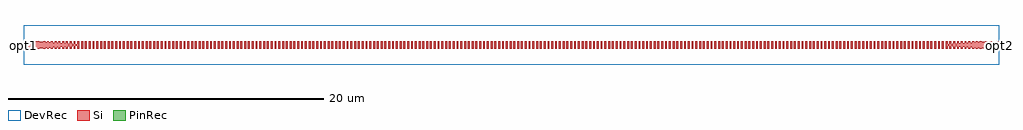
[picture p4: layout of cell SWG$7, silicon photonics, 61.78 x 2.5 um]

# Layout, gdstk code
import gdstk
lib = gdstk.Library(unit=1e-6, precision=1e-09)
def R(c, l, rs):  # rectangles x0, y0, x1, y1
    for r in rs: c.add(gdstk.rectangle(r[:2], r[2:], *l))
def P(c, l, *ps):  # polygons
    for p in ps: c.add(gdstk.Polygon(p, *l))
Si = (1, 0)
PinRec = (1, 10)
DevRec = (68, 0)

n2_grating_200_1 = lib.new_cell('n2$grating$200$1')
R(n2_grating_200_1, Si, [(50.4,-0.25,50.52,0.25)])

n2_grating_184_1 = lib.new_cell('n2$grating$184$1')
R(n2_grating_184_1, Si, [(46.56,-0.25,46.68,0.25)])

n2_grating_216_1 = lib.new_cell('n2$grating$216$1')
R(n2_grating_216_1, Si, [(54.24,-0.25,54.36,0.25)])

n2_grating_199_1 = lib.new_cell('n2$grating$199$1')
R(n2_grating_199_1, Si, [(50.16,-0.25,50.28,0.25)])

n2_grating_183_1 = lib.new_cell('n2$grating$183$1')
R(n2_grating_183_1, Si, [(46.32,-0.25,46.44,0.25)])

n2_grating_215_1 = lib.new_cell('n2$grating$215$1')
R(n2_grating_215_1, Si, [(54,-0.25,54.12,0.25)])

n1_grating_22_3 = lib.new_cell('n1$grating$22$3')
R(n1_grating_22_3, Si, [(57.6,-0.25,57.72,0.25)])

n2_grating_196_1 = lib.new_cell('n2$grating$196$1')
R(n2_grating_196_1, Si, [(49.44,-0.25,49.56,0.25)])

n2_grating_180_1 = lib.new_cell('n2$grating$180$1')
R(n2_grating_180_1, Si, [(45.6,-0.25,45.72,0.25)])

n2_grating_212_1 = lib.new_cell('n2$grating$212$1')
R(n2_grating_212_1, Si, [(53.28,-0.25,53.4,0.25)])

n1_grating_82_3 = lib.new_cell('n1$grating$82$3')
R(n1_grating_82_3, Si, [(59.04,-0.25,59.16,0.25)])

n2_grating_190_1 = lib.new_cell('n2$grating$190$1')
R(n2_grating_190_1, Si, [(48,-0.25,48.12,0.25)])

n2_grating_221_1 = lib.new_cell('n2$grating$221$1')
R(n2_grating_221_1, Si, [(55.44,-0.25,55.56,0.25)])

n2_grating_206_1 = lib.new_cell('n2$grating$206$1')
R(n2_grating_206_1, Si, [(51.84,-0.25,51.96,0.25)])

n1_grating_52_3 = lib.new_cell('n1$grating$52$3')
R(n1_grating_52_3, Si, [(58.32,-0.25,58.44,0.25)])

n2_grating_185_1 = lib.new_cell('n2$grating$185$1')
R(n2_grating_185_1, Si, [(46.8,-0.25,46.92,0.25)])

n2_grating_218_1 = lib.new_cell('n2$grating$218$1')
R(n2_grating_218_1, Si, [(54.72,-0.25,54.84,0.25)])

n2_grating_201_1 = lib.new_cell('n2$grating$201$1')
R(n2_grating_201_1, Si, [(50.64,-0.25,50.76,0.25)])

n1_grating_12_3 = lib.new_cell('n1$grating$12$3')
R(n1_grating_12_3, Si, [(57.36,-0.25,57.48,0.25)])

n2_grating_213_1 = lib.new_cell('n2$grating$213$1')
R(n2_grating_213_1, Si, [(53.52,-0.25,53.64,0.25)])

n2_grating_181_1 = lib.new_cell('n2$grating$181$1')
R(n2_grating_181_1, Si, [(45.84,-0.25,45.96,0.25)])

n2_grating_197_1 = lib.new_cell('n2$grating$197$1')
R(n2_grating_197_1, Si, [(49.68,-0.25,49.8,0.25)])

n1_grating_62_3 = lib.new_cell('n1$grating$62$3')
R(n1_grating_62_3, Si, [(58.56,-0.25,58.68,0.25)])

n2_grating_219_1 = lib.new_cell('n2$grating$219$1')
R(n2_grating_219_1, Si, [(54.96,-0.25,55.08,0.25)])

n2_grating_182_1 = lib.new_cell('n2$grating$182$1')
R(n2_grating_182_1, Si, [(46.08,-0.25,46.2,0.25)])

taper2_3 = lib.new_cell('taper2$3')
P(taper2_3, Si, [(59.88,-0.25),(57.36,-0.05),(57.36,0.05),(59.88,0.25)])

n2_grating_198_1 = lib.new_cell('n2$grating$198$1')
R(n2_grating_198_1, Si, [(49.92,-0.25,50.04,0.25)])

n2_grating_214_1 = lib.new_cell('n2$grating$214$1')
R(n2_grating_214_1, Si, [(53.76,-0.25,53.88,0.25)])

n1_grating_92_3 = lib.new_cell('n1$grating$92$3')
R(n1_grating_92_3, Si, [(59.28,-0.25,59.4,0.25)])

n2_grating_205_1 = lib.new_cell('n2$grating$205$1')
R(n2_grating_205_1, Si, [(51.6,-0.25,51.72,0.25)])

n2_grating_222_1 = lib.new_cell('n2$grating$222$1')
R(n2_grating_222_1, Si, [(55.68,-0.25,55.8,0.25)])

n2_grating_189_1 = lib.new_cell('n2$grating$189$1')
R(n2_grating_189_1, Si, [(47.76,-0.25,47.88,0.25)])

n2_grating_228_1 = lib.new_cell('n2$grating$228$1')
R(n2_grating_228_1, Si, [(57.12,-0.25,57.24,0.25)])

n2_grating_207_1 = lib.new_cell('n2$grating$207$1')
R(n2_grating_207_1, Si, [(52.08,-0.25,52.2,0.25)])

n2_grating_191_1 = lib.new_cell('n2$grating$191$1')
R(n2_grating_191_1, Si, [(48.24,-0.25,48.36,0.25)])

n1_grating_42_3 = lib.new_cell('n1$grating$42$3')
R(n1_grating_42_3, Si, [(58.08,-0.25,58.2,0.25)])

n2_grating_217_1 = lib.new_cell('n2$grating$217$1')
R(n2_grating_217_1, Si, [(54.48,-0.25,54.6,0.25)])

n2_grating_202_1 = lib.new_cell('n2$grating$202$1')
R(n2_grating_202_1, Si, [(50.88,-0.25,51,0.25)])

n2_grating_186_1 = lib.new_cell('n2$grating$186$1')
R(n2_grating_186_1, Si, [(47.04,-0.25,47.16,0.25)])

n2_grating_187_1 = lib.new_cell('n2$grating$187$1')
R(n2_grating_187_1, Si, [(47.28,-0.25,47.4,0.25)])

n2_grating_203_1 = lib.new_cell('n2$grating$203$1')
R(n2_grating_203_1, Si, [(51.12,-0.25,51.24,0.25)])

n2_grating_224_1 = lib.new_cell('n2$grating$224$1')
R(n2_grating_224_1, Si, [(56.16,-0.25,56.28,0.25)])

output_3 = lib.new_cell('Output$3')
R(output_3, Si, [(59.88,-0.25,60.76,0.25)])

n2_grating_227_1 = lib.new_cell('n2$grating$227$1')
R(n2_grating_227_1, Si, [(56.88,-0.25,57,0.25)])

n2_grating_192_1 = lib.new_cell('n2$grating$192$1')
R(n2_grating_192_1, Si, [(48.48,-0.25,48.6,0.25)])

n2_grating_208_1 = lib.new_cell('n2$grating$208$1')
R(n2_grating_208_1, Si, [(52.32,-0.25,52.44,0.25)])

n2_grating_194_1 = lib.new_cell('n2$grating$194$1')
R(n2_grating_194_1, Si, [(48.96,-0.25,49.08,0.25)])

n2_grating_210_1 = lib.new_cell('n2$grating$210$1')
R(n2_grating_210_1, Si, [(52.8,-0.25,52.92,0.25)])

n2_grating_225_1 = lib.new_cell('n2$grating$225$1')
R(n2_grating_225_1, Si, [(56.4,-0.25,56.52,0.25)])

n2_grating_188_1 = lib.new_cell('n2$grating$188$1')
R(n2_grating_188_1, Si, [(47.52,-0.25,47.64,0.25)])

n2_grating_223_1 = lib.new_cell('n2$grating$223$1')
R(n2_grating_223_1, Si, [(55.92,-0.25,56.04,0.25)])

n1_grating_102_3 = lib.new_cell('n1$grating$102$3')
R(n1_grating_102_3, Si, [(59.52,-0.25,59.64,0.25)])

n2_grating_204_1 = lib.new_cell('n2$grating$204$1')
R(n2_grating_204_1, Si, [(51.36,-0.25,51.48,0.25)])

n1_grating_72_3 = lib.new_cell('n1$grating$72$3')
R(n1_grating_72_3, Si, [(58.8,-0.25,58.92,0.25)])

n2_grating_220_1 = lib.new_cell('n2$grating$220$1')
R(n2_grating_220_1, Si, [(55.2,-0.25,55.32,0.25)])

n2_grating_211_1 = lib.new_cell('n2$grating$211$1')
R(n2_grating_211_1, Si, [(53.04,-0.25,53.16,0.25)])

n1_grating_32_3 = lib.new_cell('n1$grating$32$3')
R(n1_grating_32_3, Si, [(57.84,-0.25,57.96,0.25)])

n2_grating_195_1 = lib.new_cell('n2$grating$195$1')
R(n2_grating_195_1, Si, [(49.2,-0.25,49.32,0.25)])

n2_grating_179_1 = lib.new_cell('n2$grating$179$1')
R(n2_grating_179_1, Si, [(45.36,-0.25,45.48,0.25)])

n2_grating_193_1 = lib.new_cell('n2$grating$193$1')
R(n2_grating_193_1, Si, [(48.72,-0.25,48.84,0.25)])

n2_grating_209_1 = lib.new_cell('n2$grating$209$1')
R(n2_grating_209_1, Si, [(52.56,-0.25,52.68,0.25)])

n2_grating_226_1 = lib.new_cell('n2$grating$226$1')
R(n2_grating_226_1, Si, [(56.64,-0.25,56.76,0.25)])

n2_grating_150_1 = lib.new_cell('n2$grating$150$1')
R(n2_grating_150_1, Si, [(38.4,-0.25,38.52,0.25)])

n2_grating_164_1 = lib.new_cell('n2$grating$164$1')
R(n2_grating_164_1, Si, [(41.76,-0.25,41.88,0.25)])

n2_grating_148_1 = lib.new_cell('n2$grating$148$1')
R(n2_grating_148_1, Si, [(37.92,-0.25,38.04,0.25)])

n2_grating_116_2 = lib.new_cell('n2$grating$116$2')
R(n2_grating_116_2, Si, [(30.24,-0.25,30.36,0.25)])

n2_grating_132_1 = lib.new_cell('n2$grating$132$1')
R(n2_grating_132_1, Si, [(34.08,-0.25,34.2,0.25)])

n2_grating_166_1 = lib.new_cell('n2$grating$166$1')
R(n2_grating_166_1, Si, [(42.24,-0.25,42.36,0.25)])

n2_grating_118_2 = lib.new_cell('n2$grating$118$2')
R(n2_grating_118_2, Si, [(30.72,-0.25,30.84,0.25)])

n2_grating_134_1 = lib.new_cell('n2$grating$134$1')
R(n2_grating_134_1, Si, [(34.56,-0.25,34.68,0.25)])

n2_grating_122_1 = lib.new_cell('n2$grating$122$1')
R(n2_grating_122_1, Si, [(31.68,-0.25,31.8,0.25)])

n2_grating_121_1 = lib.new_cell('n2$grating$121$1')
R(n2_grating_121_1, Si, [(31.44,-0.25,31.56,0.25)])

n2_grating_137_1 = lib.new_cell('n2$grating$137$1')
R(n2_grating_137_1, Si, [(35.28,-0.25,35.4,0.25)])

n2_grating_153_1 = lib.new_cell('n2$grating$153$1')
R(n2_grating_153_1, Si, [(39.12,-0.25,39.24,0.25)])

n2_grating_169_1 = lib.new_cell('n2$grating$169$1')
R(n2_grating_169_1, Si, [(42.96,-0.25,43.08,0.25)])

n2_grating_123_1 = lib.new_cell('n2$grating$123$1')
R(n2_grating_123_1, Si, [(31.92,-0.25,32.04,0.25)])

n2_grating_128_1 = lib.new_cell('n2$grating$128$1')
R(n2_grating_128_1, Si, [(33.12,-0.25,33.24,0.25)])

n2_grating_119_1 = lib.new_cell('n2$grating$119$1')
R(n2_grating_119_1, Si, [(30.96,-0.25,31.08,0.25)])

n2_grating_139_1 = lib.new_cell('n2$grating$139$1')
R(n2_grating_139_1, Si, [(35.76,-0.25,35.88,0.25)])

n2_grating_155_1 = lib.new_cell('n2$grating$155$1')
R(n2_grating_155_1, Si, [(39.6,-0.25,39.72,0.25)])

n2_grating_176_1 = lib.new_cell('n2$grating$176$1')
R(n2_grating_176_1, Si, [(44.64,-0.25,44.76,0.25)])

n2_grating_144_1 = lib.new_cell('n2$grating$144$1')
R(n2_grating_144_1, Si, [(36.96,-0.25,37.08,0.25)])

n2_grating_160_1 = lib.new_cell('n2$grating$160$1')
R(n2_grating_160_1, Si, [(40.8,-0.25,40.92,0.25)])

n2_grating_171_1 = lib.new_cell('n2$grating$171$1')
R(n2_grating_171_1, Si, [(43.44,-0.25,43.56,0.25)])

n2_grating_151_1 = lib.new_cell('n2$grating$151$1')
R(n2_grating_151_1, Si, [(38.64,-0.25,38.76,0.25)])

n2_grating_135_1 = lib.new_cell('n2$grating$135$1')
R(n2_grating_135_1, Si, [(34.8,-0.25,34.92,0.25)])

n2_grating_163_1 = lib.new_cell('n2$grating$163$1')
R(n2_grating_163_1, Si, [(41.52,-0.25,41.64,0.25)])

n2_grating_147_1 = lib.new_cell('n2$grating$147$1')
R(n2_grating_147_1, Si, [(37.68,-0.25,37.8,0.25)])

n2_grating_115_2 = lib.new_cell('n2$grating$115$2')
R(n2_grating_115_2, Si, [(30,-0.25,30.12,0.25)])

n2_grating_131_1 = lib.new_cell('n2$grating$131$1')
R(n2_grating_131_1, Si, [(33.84,-0.25,33.96,0.25)])

n2_grating_167_1 = lib.new_cell('n2$grating$167$1')
R(n2_grating_167_1, Si, [(42.48,-0.25,42.6,0.25)])

n2_grating_170_1 = lib.new_cell('n2$grating$170$1')
R(n2_grating_170_1, Si, [(43.2,-0.25,43.32,0.25)])

n2_grating_165_1 = lib.new_cell('n2$grating$165$1')
R(n2_grating_165_1, Si, [(42,-0.25,42.12,0.25)])

n2_grating_161_1 = lib.new_cell('n2$grating$161$1')
R(n2_grating_161_1, Si, [(41.04,-0.25,41.16,0.25)])

n2_grating_177_1 = lib.new_cell('n2$grating$177$1')
R(n2_grating_177_1, Si, [(44.88,-0.25,45,0.25)])

n2_grating_129_1 = lib.new_cell('n2$grating$129$1')
R(n2_grating_129_1, Si, [(33.36,-0.25,33.48,0.25)])

n2_grating_145_1 = lib.new_cell('n2$grating$145$1')
R(n2_grating_145_1, Si, [(37.2,-0.25,37.32,0.25)])

n2_grating_149_1 = lib.new_cell('n2$grating$149$1')
R(n2_grating_149_1, Si, [(38.16,-0.25,38.28,0.25)])

n2_grating_117_2 = lib.new_cell('n2$grating$117$2')
R(n2_grating_117_2, Si, [(30.48,-0.25,30.6,0.25)])

n2_grating_133_1 = lib.new_cell('n2$grating$133$1')
R(n2_grating_133_1, Si, [(34.32,-0.25,34.44,0.25)])

n2_grating_138_1 = lib.new_cell('n2$grating$138$1')
R(n2_grating_138_1, Si, [(35.52,-0.25,35.64,0.25)])

n2_grating_127_1 = lib.new_cell('n2$grating$127$1')
R(n2_grating_127_1, Si, [(32.88,-0.25,33,0.25)])

n2_grating_175_1 = lib.new_cell('n2$grating$175$1')
R(n2_grating_175_1, Si, [(44.4,-0.25,44.52,0.25)])

n2_grating_159_1 = lib.new_cell('n2$grating$159$1')
R(n2_grating_159_1, Si, [(40.56,-0.25,40.68,0.25)])

n2_grating_143_1 = lib.new_cell('n2$grating$143$1')
R(n2_grating_143_1, Si, [(36.72,-0.25,36.84,0.25)])

n2_grating_154_1 = lib.new_cell('n2$grating$154$1')
R(n2_grating_154_1, Si, [(39.36,-0.25,39.48,0.25)])

n2_grating_125_1 = lib.new_cell('n2$grating$125$1')
R(n2_grating_125_1, Si, [(32.4,-0.25,32.52,0.25)])

n2_grating_124_1 = lib.new_cell('n2$grating$124$1')
R(n2_grating_124_1, Si, [(32.16,-0.25,32.28,0.25)])

n2_grating_172_1 = lib.new_cell('n2$grating$172$1')
R(n2_grating_172_1, Si, [(43.68,-0.25,43.8,0.25)])

n2_grating_140_1 = lib.new_cell('n2$grating$140$1')
R(n2_grating_140_1, Si, [(36,-0.25,36.12,0.25)])

n2_grating_156_1 = lib.new_cell('n2$grating$156$1')
R(n2_grating_156_1, Si, [(39.84,-0.25,39.96,0.25)])

n2_grating_141_1 = lib.new_cell('n2$grating$141$1')
R(n2_grating_141_1, Si, [(36.24,-0.25,36.36,0.25)])

n2_grating_126_1 = lib.new_cell('n2$grating$126$1')
R(n2_grating_126_1, Si, [(32.64,-0.25,32.76,0.25)])

n2_grating_174_1 = lib.new_cell('n2$grating$174$1')
R(n2_grating_174_1, Si, [(44.16,-0.25,44.28,0.25)])

n2_grating_142_1 = lib.new_cell('n2$grating$142$1')
R(n2_grating_142_1, Si, [(36.48,-0.25,36.6,0.25)])

n2_grating_136_1 = lib.new_cell('n2$grating$136$1')
R(n2_grating_136_1, Si, [(35.04,-0.25,35.16,0.25)])

n2_grating_152_1 = lib.new_cell('n2$grating$152$1')
R(n2_grating_152_1, Si, [(38.88,-0.25,39,0.25)])

n2_grating_168_1 = lib.new_cell('n2$grating$168$1')
R(n2_grating_168_1, Si, [(42.72,-0.25,42.84,0.25)])

n2_grating_120_1 = lib.new_cell('n2$grating$120$1')
R(n2_grating_120_1, Si, [(31.2,-0.25,31.32,0.25)])

n2_grating_158_1 = lib.new_cell('n2$grating$158$1')
R(n2_grating_158_1, Si, [(40.32,-0.25,40.44,0.25)])

n2_grating_157_1 = lib.new_cell('n2$grating$157$1')
R(n2_grating_157_1, Si, [(40.08,-0.25,40.2,0.25)])

n2_grating_173_1 = lib.new_cell('n2$grating$173$1')
R(n2_grating_173_1, Si, [(43.92,-0.25,44.04,0.25)])

n2_grating_146_1 = lib.new_cell('n2$grating$146$1')
R(n2_grating_146_1, Si, [(37.44,-0.25,37.56,0.25)])

n2_grating_162_1 = lib.new_cell('n2$grating$162$1')
R(n2_grating_162_1, Si, [(41.28,-0.25,41.4,0.25)])

n2_grating_178_1 = lib.new_cell('n2$grating$178$1')
R(n2_grating_178_1, Si, [(45.12,-0.25,45.24,0.25)])

n2_grating_130_1 = lib.new_cell('n2$grating$130$1')
R(n2_grating_130_1, Si, [(33.6,-0.25,33.72,0.25)])

n2_grating_50_2 = lib.new_cell('n2$grating$50$2')
R(n2_grating_50_2, Si, [(14.4,-0.25,14.52,0.25)])

n2_grating_90_2 = lib.new_cell('n2$grating$90$2')
R(n2_grating_90_2, Si, [(24,-0.25,24.12,0.25)])

n2_grating_74_2 = lib.new_cell('n2$grating$74$2')
R(n2_grating_74_2, Si, [(20.16,-0.25,20.28,0.25)])

n2_grating_58_2 = lib.new_cell('n2$grating$58$2')
R(n2_grating_58_2, Si, [(16.32,-0.25,16.44,0.25)])

n2_grating_106_2 = lib.new_cell('n2$grating$106$2')
R(n2_grating_106_2, Si, [(27.84,-0.25,27.96,0.25)])

n2_grating_104_2 = lib.new_cell('n2$grating$104$2')
R(n2_grating_104_2, Si, [(27.36,-0.25,27.48,0.25)])

n2_grating_88_2 = lib.new_cell('n2$grating$88$2')
R(n2_grating_88_2, Si, [(23.52,-0.25,23.64,0.25)])

n2_grating_72_2 = lib.new_cell('n2$grating$72$2')
R(n2_grating_72_2, Si, [(19.68,-0.25,19.8,0.25)])

n2_grating_108_2 = lib.new_cell('n2$grating$108$2')
R(n2_grating_108_2, Si, [(28.32,-0.25,28.44,0.25)])

n2_grating_113_2 = lib.new_cell('n2$grating$113$2')
R(n2_grating_113_2, Si, [(29.52,-0.25,29.64,0.25)])

n2_grating_97_2 = lib.new_cell('n2$grating$97$2')
R(n2_grating_97_2, Si, [(25.68,-0.25,25.8,0.25)])

n2_grating_81_2 = lib.new_cell('n2$grating$81$2')
R(n2_grating_81_2, Si, [(21.84,-0.25,21.96,0.25)])

n2_grating_65_2 = lib.new_cell('n2$grating$65$2')
R(n2_grating_65_2, Si, [(18,-0.25,18.12,0.25)])

n2_grating_92_2 = lib.new_cell('n2$grating$92$2')
R(n2_grating_92_2, Si, [(24.48,-0.25,24.6,0.25)])

n2_grating_76_2 = lib.new_cell('n2$grating$76$2')
R(n2_grating_76_2, Si, [(20.64,-0.25,20.76,0.25)])

n2_grating_60_2 = lib.new_cell('n2$grating$60$2')
R(n2_grating_60_2, Si, [(16.8,-0.25,16.92,0.25)])

n2_grating_107_2 = lib.new_cell('n2$grating$107$2')
R(n2_grating_107_2, Si, [(28.08,-0.25,28.2,0.25)])

n2_grating_100_2 = lib.new_cell('n2$grating$100$2')
R(n2_grating_100_2, Si, [(26.4,-0.25,26.52,0.25)])

n2_grating_84_2 = lib.new_cell('n2$grating$84$2')
R(n2_grating_84_2, Si, [(22.56,-0.25,22.68,0.25)])

n2_grating_68_2 = lib.new_cell('n2$grating$68$2')
R(n2_grating_68_2, Si, [(18.72,-0.25,18.84,0.25)])

n2_grating_52_2 = lib.new_cell('n2$grating$52$2')
R(n2_grating_52_2, Si, [(14.88,-0.25,15,0.25)])

n2_grating_91_2 = lib.new_cell('n2$grating$91$2')
R(n2_grating_91_2, Si, [(24.24,-0.25,24.36,0.25)])

n2_grating_102_2 = lib.new_cell('n2$grating$102$2')
R(n2_grating_102_2, Si, [(26.88,-0.25,27,0.25)])

n2_grating_86_2 = lib.new_cell('n2$grating$86$2')
R(n2_grating_86_2, Si, [(23.04,-0.25,23.16,0.25)])

n2_grating_114_2 = lib.new_cell('n2$grating$114$2')
R(n2_grating_114_2, Si, [(29.76,-0.25,29.88,0.25)])

n2_grating_98_2 = lib.new_cell('n2$grating$98$2')
R(n2_grating_98_2, Si, [(25.92,-0.25,26.04,0.25)])

n2_grating_82_2 = lib.new_cell('n2$grating$82$2')
R(n2_grating_82_2, Si, [(22.08,-0.25,22.2,0.25)])

n2_grating_66_2 = lib.new_cell('n2$grating$66$2')
R(n2_grating_66_2, Si, [(18.24,-0.25,18.36,0.25)])

n2_grating_70_2 = lib.new_cell('n2$grating$70$2')
R(n2_grating_70_2, Si, [(19.2,-0.25,19.32,0.25)])

n2_grating_54_2 = lib.new_cell('n2$grating$54$2')
R(n2_grating_54_2, Si, [(15.36,-0.25,15.48,0.25)])

n2_grating_75_2 = lib.new_cell('n2$grating$75$2')
R(n2_grating_75_2, Si, [(20.4,-0.25,20.52,0.25)])

n2_grating_56_2 = lib.new_cell('n2$grating$56$2')
R(n2_grating_56_2, Si, [(15.84,-0.25,15.96,0.25)])

n2_grating_59_2 = lib.new_cell('n2$grating$59$2')
R(n2_grating_59_2, Si, [(16.56,-0.25,16.68,0.25)])

n2_grating_112_2 = lib.new_cell('n2$grating$112$2')
R(n2_grating_112_2, Si, [(29.28,-0.25,29.4,0.25)])

n2_grating_96_2 = lib.new_cell('n2$grating$96$2')
R(n2_grating_96_2, Si, [(25.44,-0.25,25.56,0.25)])

n2_grating_80_2 = lib.new_cell('n2$grating$80$2')
R(n2_grating_80_2, Si, [(21.6,-0.25,21.72,0.25)])

n2_grating_64_2 = lib.new_cell('n2$grating$64$2')
R(n2_grating_64_2, Si, [(17.76,-0.25,17.88,0.25)])

n2_grating_110_2 = lib.new_cell('n2$grating$110$2')
R(n2_grating_110_2, Si, [(28.8,-0.25,28.92,0.25)])

n2_grating_94_2 = lib.new_cell('n2$grating$94$2')
R(n2_grating_94_2, Si, [(24.96,-0.25,25.08,0.25)])

n2_grating_111_2 = lib.new_cell('n2$grating$111$2')
R(n2_grating_111_2, Si, [(29.04,-0.25,29.16,0.25)])

n2_grating_61_2 = lib.new_cell('n2$grating$61$2')
R(n2_grating_61_2, Si, [(17.04,-0.25,17.16,0.25)])

n2_grating_109_2 = lib.new_cell('n2$grating$109$2')
R(n2_grating_109_2, Si, [(28.56,-0.25,28.68,0.25)])

n2_grating_93_2 = lib.new_cell('n2$grating$93$2')
R(n2_grating_93_2, Si, [(24.72,-0.25,24.84,0.25)])

n2_grating_77_2 = lib.new_cell('n2$grating$77$2')
R(n2_grating_77_2, Si, [(20.88,-0.25,21,0.25)])

n2_grating_95_2 = lib.new_cell('n2$grating$95$2')
R(n2_grating_95_2, Si, [(25.2,-0.25,25.32,0.25)])

n2_grating_79_2 = lib.new_cell('n2$grating$79$2')
R(n2_grating_79_2, Si, [(21.36,-0.25,21.48,0.25)])

n2_grating_63_2 = lib.new_cell('n2$grating$63$2')
R(n2_grating_63_2, Si, [(17.52,-0.25,17.64,0.25)])

n2_grating_78_2 = lib.new_cell('n2$grating$78$2')
R(n2_grating_78_2, Si, [(21.12,-0.25,21.24,0.25)])

n2_grating_62_2 = lib.new_cell('n2$grating$62$2')
R(n2_grating_62_2, Si, [(17.28,-0.25,17.4,0.25)])

n2_grating_105_2 = lib.new_cell('n2$grating$105$2')
R(n2_grating_105_2, Si, [(27.6,-0.25,27.72,0.25)])

n2_grating_89_2 = lib.new_cell('n2$grating$89$2')
R(n2_grating_89_2, Si, [(23.76,-0.25,23.88,0.25)])

n2_grating_73_2 = lib.new_cell('n2$grating$73$2')
R(n2_grating_73_2, Si, [(19.92,-0.25,20.04,0.25)])

n2_grating_57_2 = lib.new_cell('n2$grating$57$2')
R(n2_grating_57_2, Si, [(16.08,-0.25,16.2,0.25)])

n2_grating_103_2 = lib.new_cell('n2$grating$103$2')
R(n2_grating_103_2, Si, [(27.12,-0.25,27.24,0.25)])

n2_grating_87_2 = lib.new_cell('n2$grating$87$2')
R(n2_grating_87_2, Si, [(23.28,-0.25,23.4,0.25)])

n2_grating_83_2 = lib.new_cell('n2$grating$83$2')
R(n2_grating_83_2, Si, [(22.32,-0.25,22.44,0.25)])

n2_grating_67_2 = lib.new_cell('n2$grating$67$2')
R(n2_grating_67_2, Si, [(18.48,-0.25,18.6,0.25)])

n2_grating_51_2 = lib.new_cell('n2$grating$51$2')
R(n2_grating_51_2, Si, [(14.64,-0.25,14.76,0.25)])

n2_grating_99_2 = lib.new_cell('n2$grating$99$2')
R(n2_grating_99_2, Si, [(26.16,-0.25,26.28,0.25)])

n2_grating_101_2 = lib.new_cell('n2$grating$101$2')
R(n2_grating_101_2, Si, [(26.64,-0.25,26.76,0.25)])

n2_grating_85_2 = lib.new_cell('n2$grating$85$2')
R(n2_grating_85_2, Si, [(22.8,-0.25,22.92,0.25)])

n2_grating_69_2 = lib.new_cell('n2$grating$69$2')
R(n2_grating_69_2, Si, [(18.96,-0.25,19.08,0.25)])

n2_grating_53_2 = lib.new_cell('n2$grating$53$2')
R(n2_grating_53_2, Si, [(15.12,-0.25,15.24,0.25)])

n2_grating_71_2 = lib.new_cell('n2$grating$71$2')
R(n2_grating_71_2, Si, [(19.44,-0.25,19.56,0.25)])

n2_grating_55_2 = lib.new_cell('n2$grating$55$2')
R(n2_grating_55_2, Si, [(15.6,-0.25,15.72,0.25)])

n2_grating_4_3 = lib.new_cell('n2$grating$4$3')
R(n2_grating_4_3, Si, [(3.36,-0.25,3.48,0.25)])

n2_grating_38_3 = lib.new_cell('n2$grating$38$3')
R(n2_grating_38_3, Si, [(11.52,-0.25,11.64,0.25)])

n2_grating_22_3 = lib.new_cell('n2$grating$22$3')
R(n2_grating_22_3, Si, [(7.68,-0.25,7.8,0.25)])

n2_grating_6_3 = lib.new_cell('n2$grating$6$3')
R(n2_grating_6_3, Si, [(3.84,-0.25,3.96,0.25)])

n2_grating_1_3 = lib.new_cell('n2$grating$1$3')
R(n2_grating_1_3, Si, [(2.64,-0.25,2.76,0.25)])

n2_grating_49_2 = lib.new_cell('n2$grating$49$2')
R(n2_grating_49_2, Si, [(14.16,-0.25,14.28,0.25)])

input_3 = lib.new_cell('input$3')
R(input_3, Si, [(-1,-0.25,0,0.25)])

n2_grating_42_3 = lib.new_cell('n2$grating$42$3')
R(n2_grating_42_3, Si, [(12.48,-0.25,12.6,0.25)])

n2_grating_36_3 = lib.new_cell('n2$grating$36$3')
R(n2_grating_36_3, Si, [(11.04,-0.25,11.16,0.25)])

n2_grating_26_3 = lib.new_cell('n2$grating$26$3')
R(n2_grating_26_3, Si, [(8.64,-0.25,8.76,0.25)])

n2_grating_10_3 = lib.new_cell('n2$grating$10$3')
R(n2_grating_10_3, Si, [(4.8,-0.25,4.92,0.25)])

n2_grating_37_3 = lib.new_cell('n2$grating$37$3')
R(n2_grating_37_3, Si, [(11.28,-0.25,11.4,0.25)])

n2_grating_21_3 = lib.new_cell('n2$grating$21$3')
R(n2_grating_21_3, Si, [(7.44,-0.25,7.56,0.25)])

n2_grating_5_3 = lib.new_cell('n2$grating$5$3')
R(n2_grating_5_3, Si, [(3.6,-0.25,3.72,0.25)])

n1_grating_2_3 = lib.new_cell('n1$grating$2$3')
R(n1_grating_2_3, Si, [(0.48,-0.25,0.6,0.25)])

n1_grating_4_3 = lib.new_cell('n1$grating$4$3')
R(n1_grating_4_3, Si, [(0.96,-0.25,1.08,0.25)])

n2_grating_3_3 = lib.new_cell('n2$grating$3$3')
R(n2_grating_3_3, Si, [(3.12,-0.25,3.24,0.25)])

n2_grating_35_3 = lib.new_cell('n2$grating$35$3')
R(n2_grating_35_3, Si, [(10.8,-0.25,10.92,0.25)])

taper_3 = lib.new_cell('taper$3')
P(taper_3, Si, [(0,-0.25),(0,0.25),(2.52,0.05),(2.52,-0.05)])

n2_grating_19_3 = lib.new_cell('n2$grating$19$3')
R(n2_grating_19_3, Si, [(6.96,-0.25,7.08,0.25)])

n2_grating_34_3 = lib.new_cell('n2$grating$34$3')
R(n2_grating_34_3, Si, [(10.56,-0.25,10.68,0.25)])

n2_grating_18_3 = lib.new_cell('n2$grating$18$3')
R(n2_grating_18_3, Si, [(6.72,-0.25,6.84,0.25)])

n2_grating_2_3 = lib.new_cell('n2$grating$2$3')
R(n2_grating_2_3, Si, [(2.88,-0.25,3,0.25)])

n2_grating_16_3 = lib.new_cell('n2$grating$16$3')
R(n2_grating_16_3, Si, [(6.24,-0.25,6.36,0.25)])

n2_grating_39_3 = lib.new_cell('n2$grating$39$3')
R(n2_grating_39_3, Si, [(11.76,-0.25,11.88,0.25)])

n2_grating_44_2 = lib.new_cell('n2$grating$44$2')
R(n2_grating_44_2, Si, [(12.96,-0.25,13.08,0.25)])

n2_grating_28_3 = lib.new_cell('n2$grating$28$3')
R(n2_grating_28_3, Si, [(9.12,-0.25,9.24,0.25)])

n2_grating_12_3 = lib.new_cell('n2$grating$12$3')
R(n2_grating_12_3, Si, [(5.28,-0.25,5.4,0.25)])

n1_grating_6_3 = lib.new_cell('n1$grating$6$3')
R(n1_grating_6_3, Si, [(1.44,-0.25,1.56,0.25)])

n2_grating_45_2 = lib.new_cell('n2$grating$45$2')
R(n2_grating_45_2, Si, [(13.2,-0.25,13.32,0.25)])

n2_grating_15_3 = lib.new_cell('n2$grating$15$3')
R(n2_grating_15_3, Si, [(6,-0.25,6.12,0.25)])

n1_grating_9_3 = lib.new_cell('n1$grating$9$3')
R(n1_grating_9_3, Si, [(2.16,-0.25,2.28,0.25)])

n2_grating_31_3 = lib.new_cell('n2$grating$31$3')
R(n2_grating_31_3, Si, [(9.84,-0.25,9.96,0.25)])

n2_grating_47_2 = lib.new_cell('n2$grating$47$2')
R(n2_grating_47_2, Si, [(13.68,-0.25,13.8,0.25)])

n2_grating_23_3 = lib.new_cell('n2$grating$23$3')
R(n2_grating_23_3, Si, [(7.92,-0.25,8.04,0.25)])

n2_grating_7_3 = lib.new_cell('n2$grating$7$3')
R(n2_grating_7_3, Si, [(4.08,-0.25,4.2,0.25)])

n2_grating_8_3 = lib.new_cell('n2$grating$8$3')
R(n2_grating_8_3, Si, [(4.32,-0.25,4.44,0.25)])

n2_grating_40_3 = lib.new_cell('n2$grating$40$3')
R(n2_grating_40_3, Si, [(12,-0.25,12.12,0.25)])

n2_grating_29_3 = lib.new_cell('n2$grating$29$3')
R(n2_grating_29_3, Si, [(9.36,-0.25,9.48,0.25)])

n2_grating_13_3 = lib.new_cell('n2$grating$13$3')
R(n2_grating_13_3, Si, [(5.52,-0.25,5.64,0.25)])

n1_grating_7_3 = lib.new_cell('n1$grating$7$3')
R(n1_grating_7_3, Si, [(1.68,-0.25,1.8,0.25)])

n2_grating_24_3 = lib.new_cell('n2$grating$24$3')
R(n2_grating_24_3, Si, [(8.16,-0.25,8.28,0.25)])

n1_grating_8_3 = lib.new_cell('n1$grating$8$3')
R(n1_grating_8_3, Si, [(1.92,-0.25,2.04,0.25)])

n1_grating_5_3 = lib.new_cell('n1$grating$5$3')
R(n1_grating_5_3, Si, [(1.2,-0.25,1.32,0.25)])

n2_grating_43_2 = lib.new_cell('n2$grating$43$2')
R(n2_grating_43_2, Si, [(12.72,-0.25,12.84,0.25)])

n2_grating_27_3 = lib.new_cell('n2$grating$27$3')
R(n2_grating_27_3, Si, [(8.88,-0.25,9,0.25)])

n2_grating_9_3 = lib.new_cell('n2$grating$9$3')
R(n2_grating_9_3, Si, [(4.56,-0.25,4.68,0.25)])

n1_grating_3_3 = lib.new_cell('n1$grating$3$3')
R(n1_grating_3_3, Si, [(0.72,-0.25,0.84,0.25)])

n2_grating_41_3 = lib.new_cell('n2$grating$41$3')
R(n2_grating_41_3, Si, [(12.24,-0.25,12.36,0.25)])

n2_grating_25_3 = lib.new_cell('n2$grating$25$3')
R(n2_grating_25_3, Si, [(8.4,-0.25,8.52,0.25)])

n2_grating_46_2 = lib.new_cell('n2$grating$46$2')
R(n2_grating_46_2, Si, [(13.44,-0.25,13.56,0.25)])

n2_grating_30_3 = lib.new_cell('n2$grating$30$3')
R(n2_grating_30_3, Si, [(9.6,-0.25,9.72,0.25)])

n2_grating_14_3 = lib.new_cell('n2$grating$14$3')
R(n2_grating_14_3, Si, [(5.76,-0.25,5.88,0.25)])

n1_grating_10_3 = lib.new_cell('n1$grating$10$3')
R(n1_grating_10_3, Si, [(2.4,-0.25,2.52,0.25)])

n2_grating_11_3 = lib.new_cell('n2$grating$11$3')
R(n2_grating_11_3, Si, [(5.04,-0.25,5.16,0.25)])

n2_grating_32_3 = lib.new_cell('n2$grating$32$3')
R(n2_grating_32_3, Si, [(10.08,-0.25,10.2,0.25)])

n2_grating_48_2 = lib.new_cell('n2$grating$48$2')
R(n2_grating_48_2, Si, [(13.92,-0.25,14.04,0.25)])

n2_grating_33_3 = lib.new_cell('n2$grating$33$3')
R(n2_grating_33_3, Si, [(10.32,-0.25,10.44,0.25)])

n2_grating_17_3 = lib.new_cell('n2$grating$17$3')
R(n2_grating_17_3, Si, [(6.48,-0.25,6.6,0.25)])

n1_grating_1_3 = lib.new_cell('n1$grating$1$3')
R(n1_grating_1_3, Si, [(0.24,-0.25,0.36,0.25)])

n2_grating_20_3 = lib.new_cell('n2$grating$20$3')
R(n2_grating_20_3, Si, [(7.2,-0.25,7.32,0.25)])

swg_7 = lib.new_cell('SWG$7')
R(swg_7, DevRec, [(-1,-1.25,60.76,1.25)])
swg_7.add(gdstk.FlexPath([(60.75,0),(60.77,0)], 0.5, ends="flush", simple_path=True, layer=1, datatype=10))  # PinRec
swg_7.add(gdstk.FlexPath([(-0.99,0),(-1.01,0)], 0.5, ends="flush", simple_path=True, layer=1, datatype=10))  # PinRec
swg_7.add(gdstk.Reference(n2_grating_200_1, (0,0)))
swg_7.add(gdstk.Reference(n2_grating_184_1, (0,0)))
swg_7.add(gdstk.Reference(n2_grating_216_1, (0,0)))
swg_7.add(gdstk.Reference(n2_grating_199_1, (0,0)))
swg_7.add(gdstk.Reference(n2_grating_183_1, (0,0)))
swg_7.add(gdstk.Reference(n2_grating_215_1, (0,0)))
swg_7.add(gdstk.Reference(n1_grating_22_3, (0,0)))
swg_7.add(gdstk.Reference(n2_grating_196_1, (0,0)))
swg_7.add(gdstk.Reference(n2_grating_180_1, (0,0)))
swg_7.add(gdstk.Reference(n2_grating_212_1, (0,0)))
swg_7.add(gdstk.Reference(n1_grating_82_3, (0,0)))
swg_7.add(gdstk.Reference(n2_grating_190_1, (0,0)))
swg_7.add(gdstk.Reference(n2_grating_221_1, (0,0)))
swg_7.add(gdstk.Reference(n2_grating_206_1, (0,0)))
swg_7.add(gdstk.Reference(n1_grating_52_3, (0,0)))
swg_7.add(gdstk.Reference(n2_grating_185_1, (0,0)))
swg_7.add(gdstk.Reference(n2_grating_218_1, (0,0)))
swg_7.add(gdstk.Reference(n2_grating_201_1, (0,0)))
swg_7.add(gdstk.Reference(n1_grating_12_3, (0,0)))
swg_7.add(gdstk.Reference(n2_grating_213_1, (0,0)))
swg_7.add(gdstk.Reference(n2_grating_181_1, (0,0)))
swg_7.add(gdstk.Reference(n2_grating_197_1, (0,0)))
swg_7.add(gdstk.Reference(n1_grating_62_3, (0,0)))
swg_7.add(gdstk.Reference(n2_grating_219_1, (0,0)))
swg_7.add(gdstk.Reference(n2_grating_182_1, (0,0)))
swg_7.add(gdstk.Reference(taper2_3, (0,0)))
swg_7.add(gdstk.Reference(n2_grating_198_1, (0,0)))
swg_7.add(gdstk.Reference(n2_grating_214_1, (0,0)))
swg_7.add(gdstk.Reference(n1_grating_92_3, (0,0)))
swg_7.add(gdstk.Reference(n2_grating_205_1, (0,0)))
swg_7.add(gdstk.Reference(n2_grating_222_1, (0,0)))
swg_7.add(gdstk.Reference(n2_grating_189_1, (0,0)))
swg_7.add(gdstk.Reference(n2_grating_228_1, (0,0)))
swg_7.add(gdstk.Reference(n2_grating_207_1, (0,0)))
swg_7.add(gdstk.Reference(n2_grating_191_1, (0,0)))
swg_7.add(gdstk.Reference(n1_grating_42_3, (0,0)))
swg_7.add(gdstk.Reference(n2_grating_217_1, (0,0)))
swg_7.add(gdstk.Reference(n2_grating_202_1, (0,0)))
swg_7.add(gdstk.Reference(n2_grating_186_1, (0,0)))
swg_7.add(gdstk.Reference(n2_grating_187_1, (0,0)))
swg_7.add(gdstk.Reference(n2_grating_203_1, (0,0)))
swg_7.add(gdstk.Reference(n2_grating_224_1, (0,0)))
swg_7.add(gdstk.Reference(output_3, (0,0)))
swg_7.add(gdstk.Reference(n2_grating_227_1, (0,0)))
swg_7.add(gdstk.Reference(n2_grating_192_1, (0,0)))
swg_7.add(gdstk.Reference(n2_grating_208_1, (0,0)))
swg_7.add(gdstk.Reference(n2_grating_194_1, (0,0)))
swg_7.add(gdstk.Reference(n2_grating_210_1, (0,0)))
swg_7.add(gdstk.Reference(n2_grating_225_1, (0,0)))
swg_7.add(gdstk.Reference(n2_grating_188_1, (0,0)))
swg_7.add(gdstk.Reference(n2_grating_223_1, (0,0)))
swg_7.add(gdstk.Reference(n1_grating_102_3, (0,0)))
swg_7.add(gdstk.Reference(n2_grating_204_1, (0,0)))
swg_7.add(gdstk.Reference(n1_grating_72_3, (0,0)))
swg_7.add(gdstk.Reference(n2_grating_220_1, (0,0)))
swg_7.add(gdstk.Reference(n2_grating_211_1, (0,0)))
swg_7.add(gdstk.Reference(n1_grating_32_3, (0,0)))
swg_7.add(gdstk.Reference(n2_grating_195_1, (0,0)))
swg_7.add(gdstk.Reference(n2_grating_179_1, (0,0)))
swg_7.add(gdstk.Reference(n2_grating_193_1, (0,0)))
swg_7.add(gdstk.Reference(n2_grating_209_1, (0,0)))
swg_7.add(gdstk.Reference(n2_grating_226_1, (0,0)))
swg_7.add(gdstk.Reference(n2_grating_150_1, (0,0)))
swg_7.add(gdstk.Reference(n2_grating_164_1, (0,0)))
swg_7.add(gdstk.Reference(n2_grating_148_1, (0,0)))
swg_7.add(gdstk.Reference(n2_grating_116_2, (0,0)))
swg_7.add(gdstk.Reference(n2_grating_132_1, (0,0)))
swg_7.add(gdstk.Reference(n2_grating_166_1, (0,0)))
swg_7.add(gdstk.Reference(n2_grating_118_2, (0,0)))
swg_7.add(gdstk.Reference(n2_grating_134_1, (0,0)))
swg_7.add(gdstk.Reference(n2_grating_122_1, (0,0)))
swg_7.add(gdstk.Reference(n2_grating_121_1, (0,0)))
swg_7.add(gdstk.Reference(n2_grating_137_1, (0,0)))
swg_7.add(gdstk.Reference(n2_grating_153_1, (0,0)))
swg_7.add(gdstk.Reference(n2_grating_169_1, (0,0)))
swg_7.add(gdstk.Reference(n2_grating_123_1, (0,0)))
swg_7.add(gdstk.Reference(n2_grating_128_1, (0,0)))
swg_7.add(gdstk.Reference(n2_grating_119_1, (0,0)))
swg_7.add(gdstk.Reference(n2_grating_139_1, (0,0)))
swg_7.add(gdstk.Reference(n2_grating_155_1, (0,0)))
swg_7.add(gdstk.Reference(n2_grating_176_1, (0,0)))
swg_7.add(gdstk.Reference(n2_grating_144_1, (0,0)))
swg_7.add(gdstk.Reference(n2_grating_160_1, (0,0)))
swg_7.add(gdstk.Reference(n2_grating_171_1, (0,0)))
swg_7.add(gdstk.Reference(n2_grating_151_1, (0,0)))
swg_7.add(gdstk.Reference(n2_grating_135_1, (0,0)))
swg_7.add(gdstk.Reference(n2_grating_163_1, (0,0)))
swg_7.add(gdstk.Reference(n2_grating_147_1, (0,0)))
swg_7.add(gdstk.Reference(n2_grating_115_2, (0,0)))
swg_7.add(gdstk.Reference(n2_grating_131_1, (0,0)))
swg_7.add(gdstk.Reference(n2_grating_167_1, (0,0)))
swg_7.add(gdstk.Reference(n2_grating_170_1, (0,0)))
swg_7.add(gdstk.Reference(n2_grating_165_1, (0,0)))
swg_7.add(gdstk.Reference(n2_grating_161_1, (0,0)))
swg_7.add(gdstk.Reference(n2_grating_177_1, (0,0)))
swg_7.add(gdstk.Reference(n2_grating_129_1, (0,0)))
swg_7.add(gdstk.Reference(n2_grating_145_1, (0,0)))
swg_7.add(gdstk.Reference(n2_grating_149_1, (0,0)))
swg_7.add(gdstk.Reference(n2_grating_117_2, (0,0)))
swg_7.add(gdstk.Reference(n2_grating_133_1, (0,0)))
swg_7.add(gdstk.Reference(n2_grating_138_1, (0,0)))
swg_7.add(gdstk.Reference(n2_grating_127_1, (0,0)))
swg_7.add(gdstk.Reference(n2_grating_175_1, (0,0)))
swg_7.add(gdstk.Reference(n2_grating_159_1, (0,0)))
swg_7.add(gdstk.Reference(n2_grating_143_1, (0,0)))
swg_7.add(gdstk.Reference(n2_grating_154_1, (0,0)))
swg_7.add(gdstk.Reference(n2_grating_125_1, (0,0)))
swg_7.add(gdstk.Reference(n2_grating_124_1, (0,0)))
swg_7.add(gdstk.Reference(n2_grating_172_1, (0,0)))
swg_7.add(gdstk.Reference(n2_grating_140_1, (0,0)))
swg_7.add(gdstk.Reference(n2_grating_156_1, (0,0)))
swg_7.add(gdstk.Reference(n2_grating_141_1, (0,0)))
swg_7.add(gdstk.Reference(n2_grating_126_1, (0,0)))
swg_7.add(gdstk.Reference(n2_grating_174_1, (0,0)))
swg_7.add(gdstk.Reference(n2_grating_142_1, (0,0)))
swg_7.add(gdstk.Reference(n2_grating_136_1, (0,0)))
swg_7.add(gdstk.Reference(n2_grating_152_1, (0,0)))
swg_7.add(gdstk.Reference(n2_grating_168_1, (0,0)))
swg_7.add(gdstk.Reference(n2_grating_120_1, (0,0)))
swg_7.add(gdstk.Reference(n2_grating_158_1, (0,0)))
swg_7.add(gdstk.Reference(n2_grating_157_1, (0,0)))
swg_7.add(gdstk.Reference(n2_grating_173_1, (0,0)))
swg_7.add(gdstk.Reference(n2_grating_146_1, (0,0)))
swg_7.add(gdstk.Reference(n2_grating_162_1, (0,0)))
swg_7.add(gdstk.Reference(n2_grating_178_1, (0,0)))
swg_7.add(gdstk.Reference(n2_grating_130_1, (0,0)))
swg_7.add(gdstk.Reference(n2_grating_50_2, (0,0)))
swg_7.add(gdstk.Reference(n2_grating_90_2, (0,0)))
swg_7.add(gdstk.Reference(n2_grating_74_2, (0,0)))
swg_7.add(gdstk.Reference(n2_grating_58_2, (0,0)))
swg_7.add(gdstk.Reference(n2_grating_106_2, (0,0)))
swg_7.add(gdstk.Reference(n2_grating_104_2, (0,0)))
swg_7.add(gdstk.Reference(n2_grating_88_2, (0,0)))
swg_7.add(gdstk.Reference(n2_grating_72_2, (0,0)))
swg_7.add(gdstk.Reference(n2_grating_108_2, (0,0)))
swg_7.add(gdstk.Reference(n2_grating_113_2, (0,0)))
swg_7.add(gdstk.Reference(n2_grating_97_2, (0,0)))
swg_7.add(gdstk.Reference(n2_grating_81_2, (0,0)))
swg_7.add(gdstk.Reference(n2_grating_65_2, (0,0)))
swg_7.add(gdstk.Reference(n2_grating_92_2, (0,0)))
swg_7.add(gdstk.Reference(n2_grating_76_2, (0,0)))
swg_7.add(gdstk.Reference(n2_grating_60_2, (0,0)))
swg_7.add(gdstk.Reference(n2_grating_107_2, (0,0)))
swg_7.add(gdstk.Reference(n2_grating_100_2, (0,0)))
swg_7.add(gdstk.Reference(n2_grating_84_2, (0,0)))
swg_7.add(gdstk.Reference(n2_grating_68_2, (0,0)))
swg_7.add(gdstk.Reference(n2_grating_52_2, (0,0)))
swg_7.add(gdstk.Reference(n2_grating_91_2, (0,0)))
swg_7.add(gdstk.Reference(n2_grating_102_2, (0,0)))
swg_7.add(gdstk.Reference(n2_grating_86_2, (0,0)))
swg_7.add(gdstk.Reference(n2_grating_114_2, (0,0)))
swg_7.add(gdstk.Reference(n2_grating_98_2, (0,0)))
swg_7.add(gdstk.Reference(n2_grating_82_2, (0,0)))
swg_7.add(gdstk.Reference(n2_grating_66_2, (0,0)))
swg_7.add(gdstk.Reference(n2_grating_70_2, (0,0)))
swg_7.add(gdstk.Reference(n2_grating_54_2, (0,0)))
swg_7.add(gdstk.Reference(n2_grating_75_2, (0,0)))
swg_7.add(gdstk.Reference(n2_grating_56_2, (0,0)))
swg_7.add(gdstk.Reference(n2_grating_59_2, (0,0)))
swg_7.add(gdstk.Reference(n2_grating_112_2, (0,0)))
swg_7.add(gdstk.Reference(n2_grating_96_2, (0,0)))
swg_7.add(gdstk.Reference(n2_grating_80_2, (0,0)))
swg_7.add(gdstk.Reference(n2_grating_64_2, (0,0)))
swg_7.add(gdstk.Reference(n2_grating_110_2, (0,0)))
swg_7.add(gdstk.Reference(n2_grating_94_2, (0,0)))
swg_7.add(gdstk.Reference(n2_grating_111_2, (0,0)))
swg_7.add(gdstk.Reference(n2_grating_61_2, (0,0)))
swg_7.add(gdstk.Reference(n2_grating_109_2, (0,0)))
swg_7.add(gdstk.Reference(n2_grating_93_2, (0,0)))
swg_7.add(gdstk.Reference(n2_grating_77_2, (0,0)))
swg_7.add(gdstk.Reference(n2_grating_95_2, (0,0)))
swg_7.add(gdstk.Reference(n2_grating_79_2, (0,0)))
swg_7.add(gdstk.Reference(n2_grating_63_2, (0,0)))
swg_7.add(gdstk.Reference(n2_grating_78_2, (0,0)))
swg_7.add(gdstk.Reference(n2_grating_62_2, (0,0)))
swg_7.add(gdstk.Reference(n2_grating_105_2, (0,0)))
swg_7.add(gdstk.Reference(n2_grating_89_2, (0,0)))
swg_7.add(gdstk.Reference(n2_grating_73_2, (0,0)))
swg_7.add(gdstk.Reference(n2_grating_57_2, (0,0)))
swg_7.add(gdstk.Reference(n2_grating_103_2, (0,0)))
swg_7.add(gdstk.Reference(n2_grating_87_2, (0,0)))
swg_7.add(gdstk.Reference(n2_grating_83_2, (0,0)))
swg_7.add(gdstk.Reference(n2_grating_67_2, (0,0)))
swg_7.add(gdstk.Reference(n2_grating_51_2, (0,0)))
swg_7.add(gdstk.Reference(n2_grating_99_2, (0,0)))
swg_7.add(gdstk.Reference(n2_grating_101_2, (0,0)))
swg_7.add(gdstk.Reference(n2_grating_85_2, (0,0)))
swg_7.add(gdstk.Reference(n2_grating_69_2, (0,0)))
swg_7.add(gdstk.Reference(n2_grating_53_2, (0,0)))
swg_7.add(gdstk.Reference(n2_grating_71_2, (0,0)))
swg_7.add(gdstk.Reference(n2_grating_55_2, (0,0)))
swg_7.add(gdstk.Reference(n2_grating_4_3, (0,0)))
swg_7.add(gdstk.Reference(n2_grating_38_3, (0,0)))
swg_7.add(gdstk.Reference(n2_grating_22_3, (0,0)))
swg_7.add(gdstk.Reference(n2_grating_6_3, (0,0)))
swg_7.add(gdstk.Reference(n2_grating_1_3, (0,0)))
swg_7.add(gdstk.Reference(n2_grating_49_2, (0,0)))
swg_7.add(gdstk.Reference(input_3, (0,0)))
swg_7.add(gdstk.Reference(n2_grating_42_3, (0,0)))
swg_7.add(gdstk.Reference(n2_grating_36_3, (0,0)))
swg_7.add(gdstk.Reference(n2_grating_26_3, (0,0)))
swg_7.add(gdstk.Reference(n2_grating_10_3, (0,0)))
swg_7.add(gdstk.Reference(n2_grating_37_3, (0,0)))
swg_7.add(gdstk.Reference(n2_grating_21_3, (0,0)))
swg_7.add(gdstk.Reference(n2_grating_5_3, (0,0)))
swg_7.add(gdstk.Reference(n1_grating_2_3, (0,0)))
swg_7.add(gdstk.Reference(n1_grating_4_3, (0,0)))
swg_7.add(gdstk.Reference(n2_grating_3_3, (0,0)))
swg_7.add(gdstk.Reference(n2_grating_35_3, (0,0)))
swg_7.add(gdstk.Reference(taper_3, (0,0)))
swg_7.add(gdstk.Reference(n2_grating_19_3, (0,0)))
swg_7.add(gdstk.Reference(n2_grating_34_3, (0,0)))
swg_7.add(gdstk.Reference(n2_grating_18_3, (0,0)))
swg_7.add(gdstk.Reference(n2_grating_2_3, (0,0)))
swg_7.add(gdstk.Reference(n2_grating_16_3, (0,0)))
swg_7.add(gdstk.Reference(n2_grating_39_3, (0,0)))
swg_7.add(gdstk.Reference(n2_grating_44_2, (0,0)))
swg_7.add(gdstk.Reference(n2_grating_28_3, (0,0)))
swg_7.add(gdstk.Reference(n2_grating_12_3, (0,0)))
swg_7.add(gdstk.Reference(n1_grating_6_3, (0,0)))
swg_7.add(gdstk.Reference(n2_grating_45_2, (0,0)))
swg_7.add(gdstk.Reference(n2_grating_15_3, (0,0)))
swg_7.add(gdstk.Reference(n1_grating_9_3, (0,0)))
swg_7.add(gdstk.Reference(n2_grating_31_3, (0,0)))
swg_7.add(gdstk.Reference(n2_grating_47_2, (0,0)))
swg_7.add(gdstk.Reference(n2_grating_23_3, (0,0)))
swg_7.add(gdstk.Reference(n2_grating_7_3, (0,0)))
swg_7.add(gdstk.Reference(n2_grating_8_3, (0,0)))
swg_7.add(gdstk.Reference(n2_grating_40_3, (0,0)))
swg_7.add(gdstk.Reference(n2_grating_29_3, (0,0)))
swg_7.add(gdstk.Reference(n2_grating_13_3, (0,0)))
swg_7.add(gdstk.Reference(n1_grating_7_3, (0,0)))
swg_7.add(gdstk.Reference(n2_grating_24_3, (0,0)))
swg_7.add(gdstk.Reference(n1_grating_8_3, (0,0)))
swg_7.add(gdstk.Reference(n1_grating_5_3, (0,0)))
swg_7.add(gdstk.Reference(n2_grating_43_2, (0,0)))
swg_7.add(gdstk.Reference(n2_grating_27_3, (0,0)))
swg_7.add(gdstk.Reference(n2_grating_9_3, (0,0)))
swg_7.add(gdstk.Reference(n1_grating_3_3, (0,0)))
swg_7.add(gdstk.Reference(n2_grating_41_3, (0,0)))
swg_7.add(gdstk.Reference(n2_grating_25_3, (0,0)))
swg_7.add(gdstk.Reference(n2_grating_46_2, (0,0)))
swg_7.add(gdstk.Reference(n2_grating_30_3, (0,0)))
swg_7.add(gdstk.Reference(n2_grating_14_3, (0,0)))
swg_7.add(gdstk.Reference(n1_grating_10_3, (0,0)))
swg_7.add(gdstk.Reference(n2_grating_11_3, (0,0)))
swg_7.add(gdstk.Reference(n2_grating_32_3, (0,0)))
swg_7.add(gdstk.Reference(n2_grating_48_2, (0,0)))
swg_7.add(gdstk.Reference(n2_grating_33_3, (0,0)))
swg_7.add(gdstk.Reference(n2_grating_17_3, (0,0)))
swg_7.add(gdstk.Reference(n1_grating_1_3, (0,0)))
swg_7.add(gdstk.Reference(n2_grating_20_3, (0,0)))
swg_7.add(gdstk.Label('opt2', (60.76,0), layer=1, texttype=10))
swg_7.add(gdstk.Label('opt1', (-1,0), layer=1, texttype=10))

lib.write_gds('SWG_7.gds')
